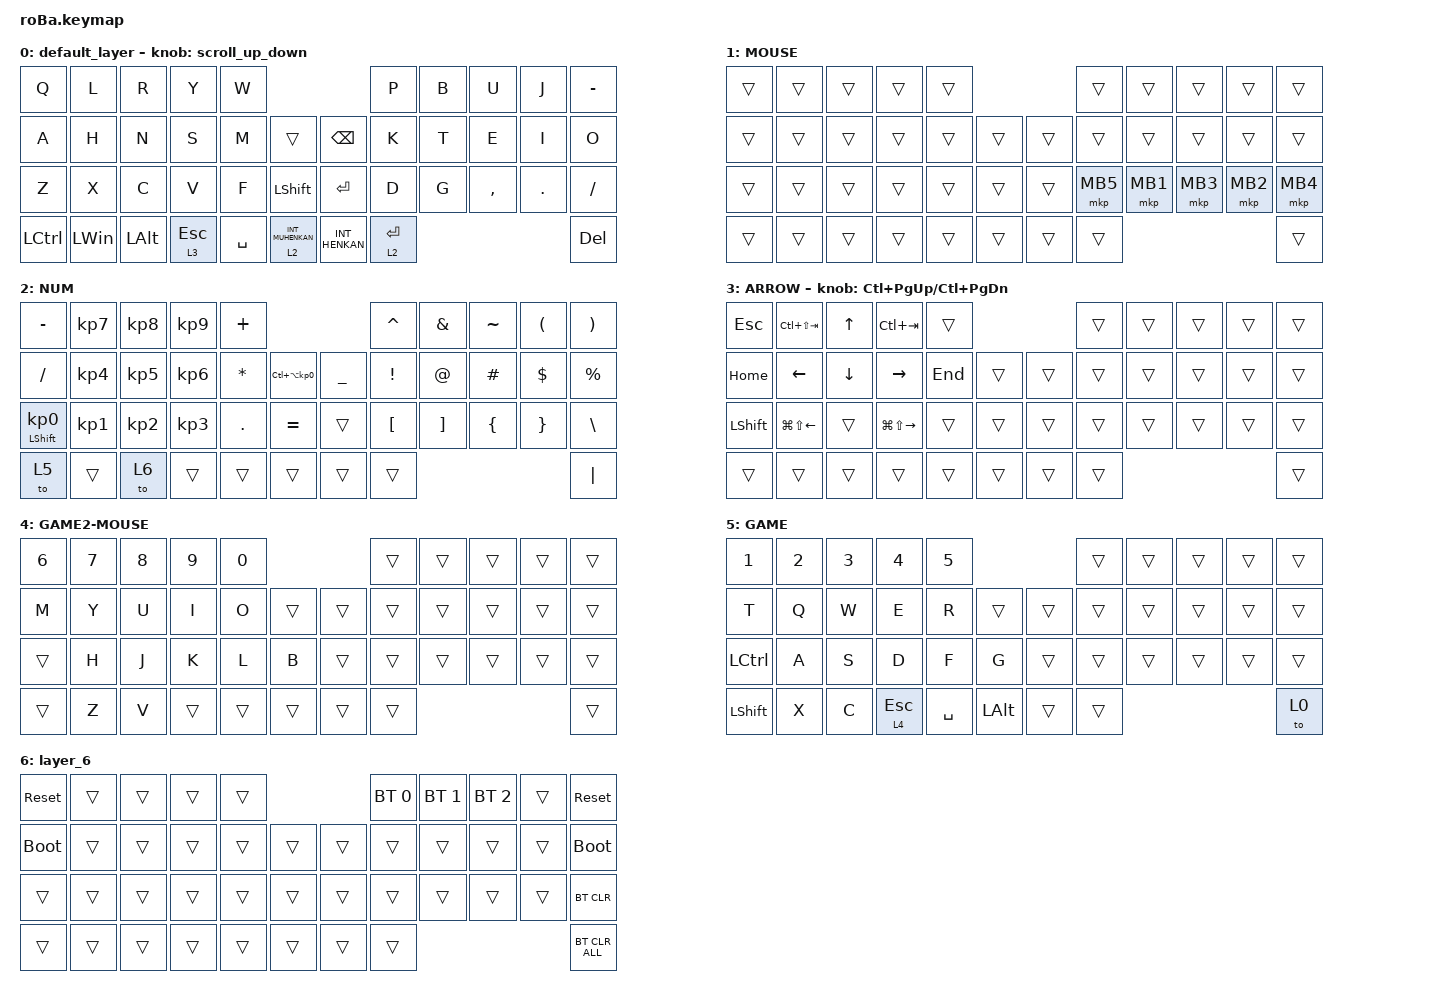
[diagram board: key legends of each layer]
#include <behaviors.dtsi>
#include <dt-bindings/zmk/bt.h>
#include <dt-bindings/zmk/keys.h>
#include <dt-bindings/zmk/pointing.h>

// #includeのあとのあたりにスクロール量を変更

#define ZMK_MOUSE_POINTING_SCRL_VAL 100

&mt {
    flavor = "balanced";
    quick-tap-ms = <0>;
};

&trackball {
    automouse-layer = <4>;
    scroll-layers = <5>;

    // arrows {
    //     layers = <3>;
    //     bindings =
    //         <&kp RIGHT_ARROW>,
    //         <&kp LEFT_ARROW>,
    //         <&kp UP_ARROW>,
    //         <&kp DOWN_ARROW>;
    //     tick = <10>;
    //     wait-ms = <5>;
    //     tap-ms = <5>;
    // };
};

/ {
    combos {
        compatible = "zmk,combos";

        tab {
            bindings = <&kp TAB>;
            key-positions = <11 12>;
        };

        shift_tab {
            bindings = <&kp LS(TAB)>;
            key-positions = <12 13>;
        };

        muhennkann {
            bindings = <&to_layer_0 INT_MUHENKAN>;
            key-positions = <11 10>;
        };

        double_quotation {
            bindings = <&kp DOUBLE_QUOTES>;
            key-positions = <20 21>;
        };

        eq {
            bindings = <&kp EQUAL>;
            key-positions = <24 25>;
        };
    };

    macros {
        to_layer_0: to_layer_0 {
            compatible = "zmk,behavior-macro-one-param";
            #binding-cells = <1>;
            bindings = <&to 0 &macro_param_1to1 &kp MACRO_PLACEHOLDER>;
            label = "TO_LAYER_0";
        };
    };

    behaviors {
        scroll_up_down: behavior_sensor_rotate_mouse_wheel_up_down {
            compatible = "zmk,behavior-sensor-rotate";
            #sensor-binding-cells = <0>;
            bindings = <&msc SCRL_DOWN>, <&msc SCRL_UP>;

            tap-ms = <20>;
        };
    };

    keymap {
        compatible = "zmk,keymap";

        default_layer {
            bindings = <
&kp Q      &kp L         &kp R         &kp Y         &kp W                                              &kp P        &kp B  &kp U      &kp J    &kp MINUS
&kp A      &kp H         &kp N         &kp S         &kp M      &trans                  &kp BACKSPACE   &kp K        &kp T  &kp E      &kp I    &kp O
&kp Z      &kp X         &kp C         &kp V         &kp F      &kp LEFT_SHIFT          &kp ENTER       &kp D        &kp G  &kp COMMA  &kp DOT  &kp SLASH
&kp LCTRL  &kp LEFT_WIN  &kp LEFT_ALT  &lt 3 ESCAPE  &kp SPACE  &lt 2 INT_MUHENKAN      &kp INT_HENKAN  &lt 2 ENTER                             &kp DEL
            >;

            sensor-bindings = <&scroll_up_down>;
        };

        MOUSE {
            bindings = <
&trans  &trans  &trans  &trans  &trans                      &trans    &trans    &trans    &trans    &trans
&trans  &trans  &trans  &trans  &trans  &trans      &trans  &trans    &trans    &trans    &trans    &trans
&trans  &trans  &trans  &trans  &trans  &trans      &trans  &mkp MB5  &mkp MB1  &mkp MB3  &mkp MB2  &mkp MB4
&trans  &trans  &trans  &trans  &trans  &trans      &trans  &trans                                  &trans
            >;
        };

        NUM {
            bindings = <
&kp MINUS                   &kp KP_NUMBER_7  &kp KP_NUMBER_8  &kp KP_NUMBER_9  &kp PLUS                                                   &kp CARET         &kp AMPERSAND      &kp TILDE       &kp LEFT_PARENTHESIS  &kp RIGHT_PARENTHESIS
&kp SLASH                   &kp KP_NUMBER_4  &kp KP_NUMBER_5  &kp KP_NUMBER_6  &kp ASTERISK  &kp LC(LA(KP_NUMBER_0))      &kp UNDERSCORE  &kp EXCLAMATION   &kp AT_SIGN        &kp HASH        &kp DOLLAR            &kp PERCENT
&mt LEFT_SHIFT KP_NUMBER_0  &kp KP_NUMBER_1  &kp KP_NUMBER_2  &kp KP_NUMBER_3  &kp PERIOD    &kp EQUAL                    &trans          &kp LEFT_BRACKET  &kp RIGHT_BRACKET  &kp LEFT_BRACE  &kp RIGHT_BRACE       &kp BACKSLASH
&to 5                       &trans           &to 6            &trans           &trans        &trans                       &trans          &trans                                                                     &kp PIPE
            >;
        };

        ARROW {
            bindings = <
&kp ESCAPE      &kp LC(LS(TAB))         &kp UP_ARROW    &kp LC(TAB)              &trans                       &trans  &trans  &trans  &trans  &trans
&kp HOME        &kp LEFT_ARROW          &kp DOWN_ARROW  &kp RIGHT_ARROW          &kp END  &trans      &trans  &trans  &trans  &trans  &trans  &trans
&kp LEFT_SHIFT  &kp LG(LS(LEFT_ARROW))  &trans          &kp LG(LS(RIGHT_ARROW))  &trans   &trans      &trans  &trans  &trans  &trans  &trans  &trans
&trans          &trans                  &trans          &trans                   &trans   &trans      &trans  &trans                          &trans
            >;

            sensor-bindings = <&inc_dec_kp LC(PAGE_UP) LC(PAGE_DOWN)>;
        };

        GAME2-MOUSE {
            bindings = <
&kp N6  &kp N7  &kp N8  &kp N9  &kp N0                      &trans  &trans  &trans  &trans  &trans
&kp M   &kp Y   &kp U   &kp I   &kp O   &trans      &trans  &trans  &trans  &trans  &trans  &trans
&trans  &kp H   &kp J   &kp K   &kp L   &kp B       &trans  &trans  &trans  &trans  &trans  &trans
&trans  &kp Z   &kp V   &trans  &trans  &trans      &trans  &trans                          &trans
            >;
        };

        GAME {
            bindings = <
&kp N1            &kp N2  &kp N3  &kp N4        &kp N5                               &trans  &trans  &trans  &trans  &trans
&kp T             &kp Q   &kp W   &kp E         &kp R      &trans            &trans  &trans  &trans  &trans  &trans  &trans
&kp LEFT_CONTROL  &kp A   &kp S   &kp D         &kp F      &kp G             &trans  &trans  &trans  &trans  &trans  &trans
&kp LEFT_SHIFT    &kp X   &kp C   &lt 4 ESCAPE  &kp SPACE  &kp LEFT_ALT      &trans  &trans                          &to 0
            >;
        };

        layer_6 {
            bindings = <
&sys_reset   &trans  &trans  &trans  &trans                      &bt BT_SEL 0  &bt BT_SEL 1  &bt BT_SEL 2  &trans  &sys_reset
&bootloader  &trans  &trans  &trans  &trans  &trans      &trans  &trans        &trans        &trans        &trans  &bootloader
&trans       &trans  &trans  &trans  &trans  &trans      &trans  &trans        &trans        &trans        &trans  &bt BT_CLR
&trans       &trans  &trans  &trans  &trans  &trans      &trans  &trans                                            &bt BT_CLR_ALL
            >;
        };
    };
};
